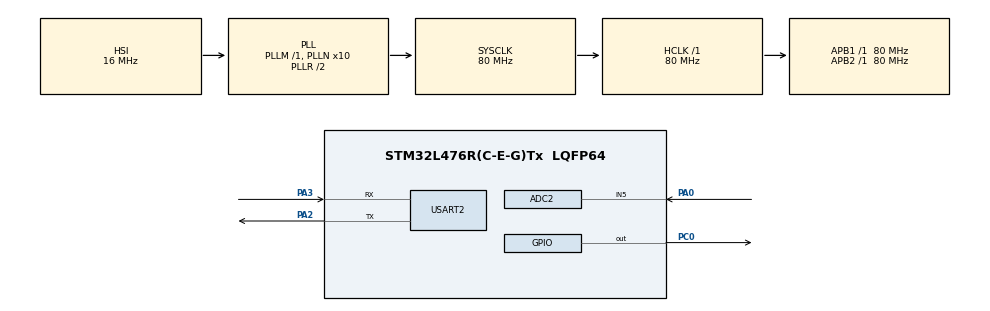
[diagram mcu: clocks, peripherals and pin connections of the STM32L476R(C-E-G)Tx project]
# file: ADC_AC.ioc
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ADC1.Channel-0\#ChannelRegularConversion=ADC_CHANNEL_TEMPSENSOR
ADC1.NbrOfConversionFlag=1
ADC1.OffsetNumber-0\#ChannelRegularConversion=ADC_OFFSET_NONE
ADC1.Rank-0\#ChannelRegularConversion=1
ADC1.SamplingTime-0\#ChannelRegularConversion=ADC_SAMPLETIME_2CYCLES_5
ADC1.master=1
ADC2.Channel-0\#ChannelRegularConversion=ADC_CHANNEL_5
ADC2.DMAContinuousRequests=ENABLE
ADC2.ExternalTrigConv=ADC_EXTERNALTRIG_T2_TRGO
ADC2.NbrOfConversion=1
ADC2.NbrOfConversionFlag=1
ADC2.OffsetNumber-0\#ChannelRegularConversion=ADC_OFFSET_NONE
ADC2.Rank-0\#ChannelRegularConversion=1
ADC2.SamplingTime-0\#ChannelRegularConversion=ADC_SAMPLETIME_247CYCLES_5
Dma.ADC2.0.Direction=DMA_PERIPH_TO_MEMORY
Dma.ADC2.0.Instance=DMA1_Channel2
Dma.ADC2.0.MemDataAlignment=DMA_MDATAALIGN_HALFWORD
Dma.ADC2.0.MemInc=DMA_MINC_ENABLE
Dma.ADC2.0.Mode=DMA_NORMAL
Dma.ADC2.0.PeriphDataAlignment=DMA_PDATAALIGN_HALFWORD
Dma.ADC2.0.PeriphInc=DMA_PINC_DISABLE
Dma.ADC2.0.Priority=DMA_PRIORITY_VERY_HIGH
Dma.Request0=ADC2
Mcu.Family=STM32L4
Mcu.Name=STM32L476R(C-E-G)Tx
Mcu.Package=LQFP64
NVIC.ADC1_2_IRQn=true\:0\:0\:false\:false\:true\:true\:true\:true
NVIC.DMA1_Channel2_IRQn=true\:0\:0\:false\:false\:true\:false\:true\:true
NVIC.PriorityGroup=NVIC_PRIORITYGROUP_4
NVIC.TIM3_IRQn=true\:0\:0\:false\:false\:true\:true\:true\:true
NVIC.USART2_IRQn=true\:0\:0\:false\:false\:true\:true\:true\:true
PA0.Signal=ADCx_IN5
PA2.Mode=Asynchronous
PA2.Signal=USART2_TX
PA3.Mode=Asynchronous
PA3.Signal=USART2_RX
PC0.Signal=GPIO_Output
ProjectManager.HeapSize=0x200
ProjectManager.StackSize=0x400
ProjectManager.TargetToolchain=STM32CubeIDE
RCC.ADCFreq_Value=64000000
RCC.AHBFreq_Value=80000000
RCC.APB1Freq_Value=80000000
RCC.APB1TimFreq_Value=80000000
RCC.APB2Freq_Value=80000000
RCC.APB2TimFreq_Value=80000000
RCC.CortexFreq_Value=80000000
RCC.HCLKFreq_Value=80000000
RCC.HSE_VALUE=8000000
RCC.HSI_VALUE=16000000
RCC.LSE_VALUE=32768
RCC.MSI_VALUE=4000000
RCC.PLLN=10
RCC.PLLSourceVirtual=RCC_PLLSOURCE_HSI
RCC.SYSCLKFreq_VALUE=80000000
RCC.SYSCLKSource=RCC_SYSCLKSOURCE_PLLCLK
RCC.USBFreq_Value=64000000
RCC.VCOOutputFreq_Value=160000000
SH.ADCx_IN5.0=ADC2_IN5,IN5-Single-Ended
TIM2.Period=79
TIM2.Prescaler=99
TIM2.TIM_MasterOutputTrigger=TIM_TRGO_UPDATE
TIM3.Period=19999
TIM3.Prescaler=1999
USART2.VirtualMode-Asynchronous=VM_ASYNC
VP_ADC1_TempSens_Input.Mode=IN-TempSens
VP_TIM2_VS_ClockSourceINT.Mode=Internal
VP_TIM3_VS_ClockSourceINT.Mode=Internal
board=custom

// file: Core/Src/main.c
/* USER CODE BEGIN Header */
/**
  ******************************************************************************
  * @file           : main.c
  * @brief          : Main program body
  ******************************************************************************
  * @attention
  *
  * Copyright (c) 2026 STMicroelectronics.
  * All rights reserved.
  *
  * This software is licensed under terms that can be found in the LICENSE file
  * in the root directory of this software component.
  * If no LICENSE file comes with this software, it is provided AS-IS.
  *
  ******************************************************************************
  */
/* USER CODE END Header */
#include "main.h"
#include "adc.h"
#include "dma.h"
#include "tim.h"
#include "usart.h"
#include "gpio.h"

/* USER CODE BEGIN Includes */

#include <stdio.h>
/* USER CODE END Includes */

/* USER CODE BEGIN PD */
#define datos 16384
/* USER CODE END PD */

/* USER CODE BEGIN PV */
uint16_t adc_buffer[datos];
/* USER CODE END PV */

void SystemClock_Config(void);
void PeriphCommonClock_Config(void);

int main(void)
{
  /* USER CODE BEGIN 1 */
	extern volatile int send_data;
  /* USER CODE END 1 */

  /* MCU Configuration--------------------------------------------------------*/

  /* Reset of all peripherals, Initializes the Flash interface and the Systick. */
  HAL_Init();

  /* Configure the system clock */
  SystemClock_Config();

/* Configure the peripherals common clocks */
  PeriphCommonClock_Config();

  /* Initialize all configured peripherals */
  MX_GPIO_Init();
  MX_DMA_Init();
  MX_ADC2_Init();
  MX_TIM2_Init();
  MX_USART2_UART_Init();
  MX_TIM3_Init();
  MX_ADC1_Init();
  /* USER CODE BEGIN 2 */
char data_buffer[16];
int len;
int i;
extern volatile uint8_t rx_data;
extern
volatile int send_temp_data;
HAL_GPIO_WritePin(GPIOC, GPIO_PIN_0, GPIO_PIN_RESET);
HAL_UART_Receive_IT(&huart2,(uint8_t *)&rx_data, 1);
  /* USER CODE END 2 */

  /* Infinite loop */
  while (1)
  {

    /* USER CODE BEGIN 3 */
	  if(send_data==1){
		  for(i=0;i<datos;i++){
			  len=sprintf(data_buffer,"%u\r\n",adc_buffer[i]);
			  HAL_UART_Transmit(&huart2,(uint8_t*)data_buffer,len,100);

		  }
		  send_data=0;
	  }
	  if(send_temp_data == 1){
	            extern volatile uint16_t temp_adc_raw;
	            len = sprintf(data_buffer,"%u\r\n", temp_adc_raw);
	            HAL_UART_Transmit(&huart2, (uint8_t*)data_buffer, len, 100);
	            send_temp_data = 0;
	        }
  }
  /* USER CODE END 3 */
}

void SystemClock_Config(void)
{
  RCC_OscInitTypeDef RCC_OscInitStruct = {0};
  RCC_ClkInitTypeDef RCC_ClkInitStruct = {0};

  /** Configure the main internal regulator output voltage
  */
  if (HAL_PWREx_ControlVoltageScaling(PWR_REGULATOR_VOLTAGE_SCALE1) != HAL_OK)
  {
    Error_Handler();
  }

  /** Initializes the RCC Oscillators according to the specified parameters
  * in the RCC_OscInitTypeDef structure.
  */
  RCC_OscInitStruct.OscillatorType = RCC_OSCILLATORTYPE_HSI;
  RCC_OscInitStruct.HSIState = RCC_HSI_ON;
  RCC_OscInitStruct.HSICalibrationValue = RCC_HSICALIBRATION_DEFAULT;
  RCC_OscInitStruct.PLL.PLLState = RCC_PLL_ON;
  RCC_OscInitStruct.PLL.PLLSource = RCC_PLLSOURCE_HSI;
  RCC_OscInitStruct.PLL.PLLM = 1;
  RCC_OscInitStruct.PLL.PLLN = 10;
  RCC_OscInitStruct.PLL.PLLP = RCC_PLLP_DIV7;
  RCC_OscInitStruct.PLL.PLLQ = RCC_PLLQ_DIV2;
  RCC_OscInitStruct.PLL.PLLR = RCC_PLLR_DIV2;
  if (HAL_RCC_OscConfig(&RCC_OscInitStruct) != HAL_OK)
  {
    Error_Handler();
  }

  /** Initializes the CPU, AHB and APB buses clocks
  */
  RCC_ClkInitStruct.ClockType = RCC_CLOCKTYPE_HCLK|RCC_CLOCKTYPE_SYSCLK
                              |RCC_CLOCKTYPE_PCLK1|RCC_CLOCKTYPE_PCLK2;
  RCC_ClkInitStruct.SYSCLKSource = RCC_SYSCLKSOURCE_PLLCLK;
  RCC_ClkInitStruct.AHBCLKDivider = RCC_SYSCLK_DIV1;
  RCC_ClkInitStruct.APB1CLKDivider = RCC_HCLK_DIV1;
  RCC_ClkInitStruct.APB2CLKDivider = RCC_HCLK_DIV1;

  if (HAL_RCC_ClockConfig(&RCC_ClkInitStruct, FLASH_LATENCY_4) != HAL_OK)
  {
    Error_Handler();
  }
}

void PeriphCommonClock_Config(void)
{
  RCC_PeriphCLKInitTypeDef PeriphClkInit = {0};

  /** Initializes the peripherals clock
  */
  PeriphClkInit.PeriphClockSelection = RCC_PERIPHCLK_ADC;
  PeriphClkInit.AdcClockSelection = RCC_ADCCLKSOURCE_PLLSAI1;
  PeriphClkInit.PLLSAI1.PLLSAI1Source = RCC_PLLSOURCE_HSI;
  PeriphClkInit.PLLSAI1.PLLSAI1M = 1;
  PeriphClkInit.PLLSAI1.PLLSAI1N = 8;
  PeriphClkInit.PLLSAI1.PLLSAI1P = RCC_PLLP_DIV7;
  PeriphClkInit.PLLSAI1.PLLSAI1Q = RCC_PLLQ_DIV2;
  PeriphClkInit.PLLSAI1.PLLSAI1R = RCC_PLLR_DIV2;
  PeriphClkInit.PLLSAI1.PLLSAI1ClockOut = RCC_PLLSAI1_ADC1CLK;
  if (HAL_RCCEx_PeriphCLKConfig(&PeriphClkInit) != HAL_OK)
  {
    Error_Handler();
  }
}

void Error_Handler(void)
{
  __disable_irq();
  while (1)
  {
  }
}
